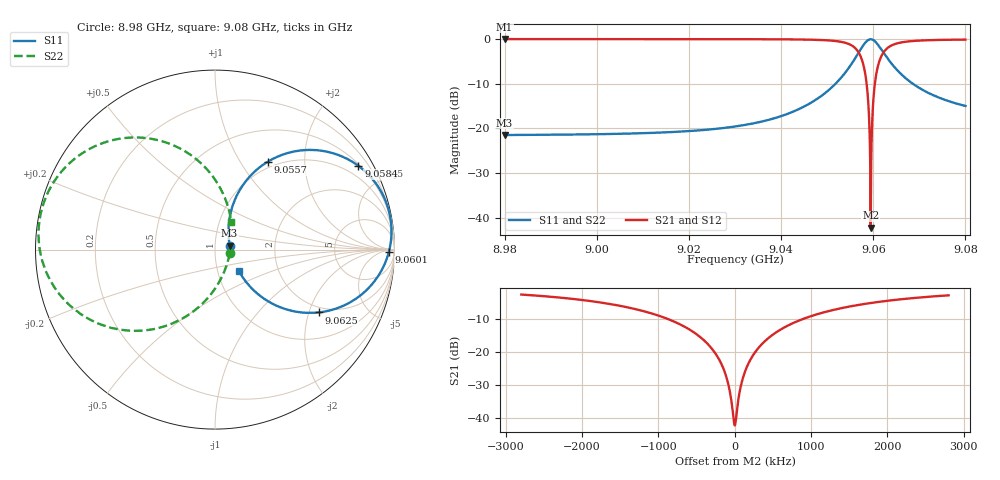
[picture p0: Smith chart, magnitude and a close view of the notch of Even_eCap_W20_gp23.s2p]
! Sonnet Data File
! From: emgraph Version : 16.52
! From Project: Resonator2_extremeCap
! Data is De-embedded
! Data File Written: 10/10/2017 20:29:21
!< HDATE 10/09/2017 23:04:37
!< MDATE 10/09/2017 23:04:37
!< PARAMS
!< Pwid1 = 2000.0
!< Pwid2 = 2000.0
!< Air_gap = 12.0
!< Width = 20.0
!< Gap = 23.0
!< END PARAMS
# GHZ S MA R 51.80000
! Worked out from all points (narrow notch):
!   1594 points, 8.98 GHz to 9.08 GHz, reference 51.8 ohm
!   highest |S21| = -0.03 dB at 8.98 GHz (marker M1); lowest = -42.2 dB at 9.0595 GHz (marker M2)
!   notch at M2: 42.0 dB deep, 468 kHz wide at half that depth
!   lowest |S11| = -21.5 dB at 8.98 GHz (marker M3), VSWR 1.18, Z = 60.9 + j2.67 ohm
!   |S11| at or under -10 dB: start of sweep to 9.0518 GHz; 9.068566 GHz to end of sweep
!   |S22| runs from -21.5 to -0.1 dB; largest |S21 - S12| = 0
!   S11 on the Smith chart (normalised r, x): 8.98 GHz: 1.18, +0.05; 9.0557 GHz: 0.91, +1.32; 9.0584 GHz: 0.56, +3.61; 9.0601 GHz: 50, -24; 9.0625 GHz: 1.81, -2.34; 9.08 GHz: 1.26, -0.31
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8.98  0.08421 15.0  0.9964 -89.5  0.9964 -89.5  0.08419 -14.0
!< P1 F=8.98 Eeff=(6.44620984 -2.9718e-5) Z0=(50.9069029 1.17456e-4) R=0.0 C=0.0
!< P2 F=8.98 Eeff=(6.44620984 -2.9718e-5) Z0=(50.9069029 1.17456e-4) R=0.0 C=0.0
8.9967  0.0855 20.2  0.9963 -90.2  0.9963 -90.2  0.08547 -20.6
9.0134  0.08954 28.8  0.996 -91.2  0.996 -91.2  0.08949 -31.3
9.03  0.1049 43.7  0.9944 -93.3  0.9944 -93.3  0.1048 -50.2
9.0467  0.1962 65.4  0.9802 -100.1  0.9802 -100.1  0.1959 -85.8
9.0526  0.348 67.6  0.9365 -109.7  0.9365 -109.7  0.3475 -107.5
9.055735  0.5701 59.1  0.8185 -124.4  0.8185 -124.4  0.5693 -128.6
9.057299  0.7694 46.2  0.6318 -140.1  0.6318 -140.1  0.7683 -147.5
9.058412  0.925 30.3  0.363 -157.5  0.363 -157.5  0.9238 -167.6
9.058899  0.9724 21.5  0.2017 -166.2  0.2017 -166.2  0.9711 -178.2
9.059195  0.9884 15.8  0.09481 -169.9  0.09481 -169.9  0.9871 175.0
9.059354  0.9922 12.7  0.03661 -165.7  0.03661 -165.7  0.9909 171.3
9.059451  0.9929 10.9  0.007749 -88.5  0.007749 -88.5  0.9916 169.1
9.05953  0.9925 9.3  0.03067 -16.3  0.03067 -16.3  0.9911 167.2
9.059634  0.9906 7.3  0.06837 -10.4  0.06837 -10.4  0.9893 164.8
9.059802  0.9846 4.1  0.1293 -10.8  0.1293 -10.8  0.9833 161.0
9.060067  0.9682 -0.9  0.222 -14.8  0.222 -14.8  0.967 155.1
9.061  0.8645 -16.0  0.4922 -30.4  0.4922 -30.4  0.8634 136.7
9.062451  0.6766 -31.1  0.7322 -47.8  0.7322 -47.8  0.6758 116.4
9.0634  0.5783 -37.0  0.8131 -55.1  0.8131 -55.1  0.5776 107.4
9.068108  0.3289 -46.3  0.9437 -71.5  0.9437 -71.5  0.3286 83.4
9.08  0.178 -41.9  0.9839 -81.2  0.9839 -81.2  0.1779 59.5
